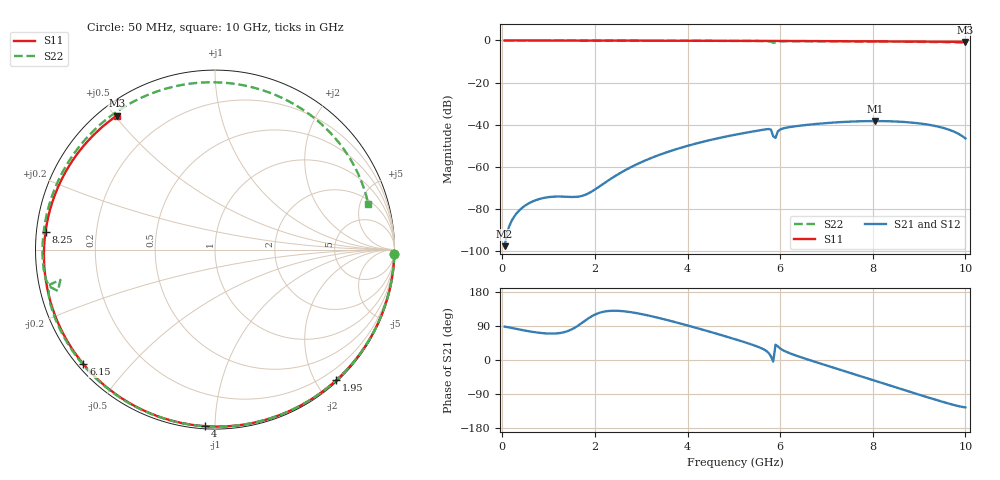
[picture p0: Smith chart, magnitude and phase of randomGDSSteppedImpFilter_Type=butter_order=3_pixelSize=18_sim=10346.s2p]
! freq	dB(S11)	phase(S11)	dB(S12)	phase(S12)
!  dB(S21)	phase(S21)	dB(S22)	phase(S22)
!S-par simulation data
#  GHz  S  DB  R 50
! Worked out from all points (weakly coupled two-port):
!   200 points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, 50 MHz to 10 GHz, reference 50 ohm
!   highest |S21| = -38.21 dB at 8.05 GHz (marker M1); lowest = -97.5 dB at 50 MHz (marker M2)
!   lowest |S11| = -0.7 dB at 10 GHz (marker M3), VSWR 25.68, Z = 2.45 + j25.3 ohm
!   |S11| at or under -10 dB: nowhere
!   |S22| runs from -1.1 to 0.0 dB; largest |S21 - S12| = 0
!   S11 on the Smith chart (normalised r, x): 50 MHz: 1, -91; 1.95 GHz: 0.02, -2.29; 4 GHz: 0.01, -0.94; 6.15 GHz: 0.02, -0.37; 8.25 GHz: 0.03, +0.05; 10 GHz: 0.05, +0.51
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0.05  -0.00 -1.3  -97.53 88.1  -97.53 88.1  -0.00 -1.5
0.4  -0.01 -9.9  -79.89 79.7  -79.89 79.7  -0.01 -11.7
0.95  -0.03 -23.3  -74.44 70.1  -74.44 70.1  -0.03 -27.8
1.75  -0.05 -42.5  -73.50 100.6  -73.50 100.6  -0.06 -50.7
1.95  -0.06 -47.2  -71.38 116.7  -71.38 116.7  -0.07 -56.3
2.7  -0.08 -64.5  -60.96 127.5  -60.96 127.5  -0.10 -77.3
3.4  -0.11 -80.2  -54.18 110.4  -54.18 110.4  -0.13 -96.7
4  -0.13 -93.3  -49.96 91.2  -49.96 91.2  -0.16 -113.2
5.05  -0.18 -115.7  -44.60 54.0  -44.60 54.0  -0.23 -143.0
5.75  -0.22 -130.5  -41.99 18.9  -41.99 18.9  -0.38 -165.6
5.85  -0.23 -132.6  -45.42 -4.2  -45.42 -4.2  -1.13 -168.9
5.9  -0.23 -133.6  -46.19 40.3  -46.19 40.3  -0.87 -165.2
5.95  -0.23 -134.7  -43.13 36.1  -43.13 36.1  -0.49 -167.4
6.15  -0.25 -138.9  -41.29 20.6  -41.29 20.6  -0.34 -175.3
6.7  -0.29 -150.7  -39.75 -2.7  -39.75 -2.7  -0.38 165.6
7.35  -0.35 -165.0  -38.66 -27.9  -38.66 -27.9  -0.46 141.5
8.05  -0.43 178.8  -38.21 -55.0  -38.21 -55.0  -0.54 112.6
8.25  -0.45 173.9  -38.25 -62.7  -38.25 -62.7  -0.57 103.8
8.35  -0.46 171.5  -38.31 -66.6  -38.31 -66.6  -0.58 99.3
9.15  -0.56 150.8  -39.76 -97.2  -39.76 -97.2  -0.71 60.9
9.65  -0.63 136.7  -42.35 -115.4  -42.35 -115.4  -0.84 35.4
10  -0.68 126.2  -46.45 -125.1  -46.45 -125.1  -1.00 16.6
